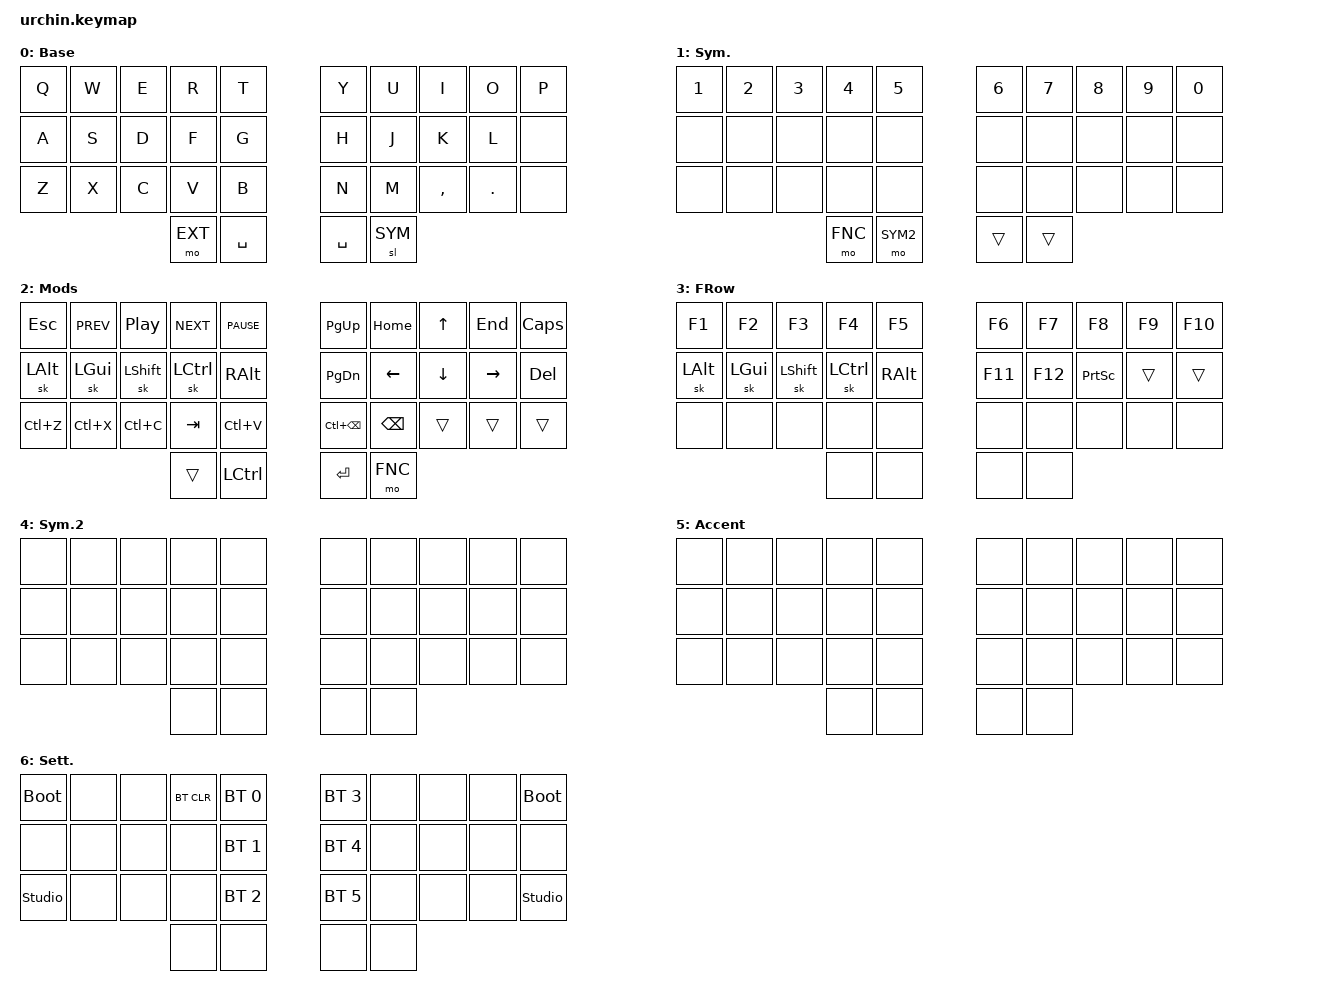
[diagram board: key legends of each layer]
#include <behaviors.dtsi>
#include <dt-bindings/zmk/keys.h>
#include <dt-bindings/zmk/bt.h>

// Layer definitions
#define BASE 0
#define SYM 1
#define EXT 2
#define FNC 3
#define SYM2 4
#define ACCENT 5
#define SETTINGS 6
// -----------------

&sk {
	// don't release mods on other mods presses
	ignore-modifiers;
};


/ {

	keymap {
		compatible = "zmk,keymap";
		// Base alpha layer
		default_layer {
			label = "Base";
			bindings = <
			&kp Q &kp W &kp E &kp R &kp T           &kp Y &kp U  &kp I     &kp O   &kp P
			&kp A &kp S &kp D &kp F &kp G           &kp H &kp J  &kp K     &kp L &none
			&kp Z &kp X &kp C &kp V &kp B           &kp N &kp M  &kp COMMA &kp DOT &none
							&mo EXT &kp SPACE           &kp SPACE &sl SYM
			>;
		};

		// Numbers and high frequency symbols
		sym_layer {
			label = "Sym.";
			bindings = <
			&kp N1 &kp N2 &kp N3 &kp N4 &kp N5		                                    &kp N6 &kp N7 &kp N8 &kp N9 &kp N0
			&none &none &none &none &none  &none &none &none &none &none
			&none &none &none &none &none 	&none &none &none &none &none
														&mo FNC  &mo SYM2       &trans &trans
			>;
		};

		// Main modifiers and arrow keys
		ext_layer {
			label = "Mods";
			bindings = <
			&kp ESC  &kp C_PREV &kp C_PP  &kp C_NEXT  &kp C_PAUSE    	&kp PG_UP  &kp HOME &kp UP &kp END &kp CAPS
			&sk LALT &sk LGUI  &sk LSHIFT  &sk LCTRL  &kp RALT 			&kp PG_DN &kp LEFT  &kp DOWN  &kp RIGHT   &kp DEL
			&kp LC(Z)  &kp LC(X) &kp LC(C) &kp TAB   &kp LC(V)          &kp LC(BSPC) &kp BSPC &trans &trans  &trans
																		&trans &kp LCTRL    &kp ENTER  &mo FNC
			>;
		};

		// Function keys with modifiers
		fnc_layer {
			label = "FRow";
			bindings = <
			&kp F1 &kp F2 &kp F3 &kp F4 &kp F5                  &kp F6 &kp F7 &kp F8 &kp F9 &kp F10
			&sk LALT &sk LGUI &sk LSHIFT &sk LCTRL &kp RALT     &kp F11 &kp F12  &kp PRINTSCREEN &trans &trans
			&none &none &none &none &none				          &none &none &none &none &none
							  &none &none              &none &none
			>;
		};

		// Low frequency symbols.
		symbols_2_layer {
			label = "Sym.2";
			bindings = <
			&none &none &none &none &none         &none &none &none &none &none
			&none &none &none &none &none         &none &none &none &none &none
			&none 			&none 			 &none &none &none				  &none &none &none &none &none
																	&none &none        	&none &none
			>;
		};

		// Used to type regional accents.
		accent_layer {
			label = "Accent";
			bindings = <
			&none &none &none &none &none                         &none &none &none &none &none
			&none &none &none &none &none &none &none &none &none &none
			&none &none &none &none &none                         &none &none &none &none &none
									&none &none                         &none &none
			>;
		};

		// Used to change the keyboard's settings.
		settings_layer {
				label = "Sett.";
				bindings = <
				&bootloader &none &none &bt BT_CLR &bt BT_SEL 0               &bt BT_SEL 3 &none &none &none &bootloader
				&none &none &none &none      &bt BT_SEL 1 						  &bt BT_SEL 4 &none &none &none &none
				&studio_unlock &none &none &none      &bt BT_SEL 2               &bt BT_SEL 5 &none &none &none &studio_unlock
										&none &none                         &none &none
				>;
		};
	};
};
